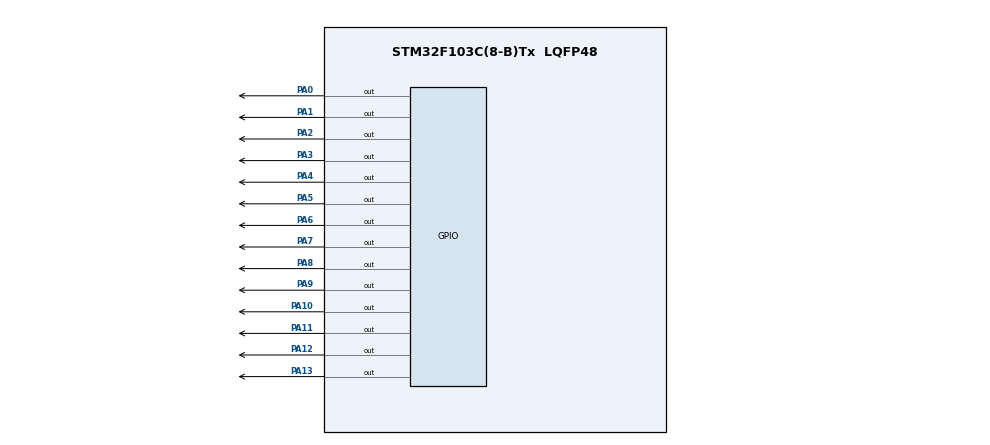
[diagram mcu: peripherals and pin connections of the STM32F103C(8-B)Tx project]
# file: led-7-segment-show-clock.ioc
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Mcu.Family=STM32F1
Mcu.Name=STM32F103C(8-B)Tx
Mcu.Package=LQFP48
NVIC.PriorityGroup=NVIC_PRIORITYGROUP_4
PA0-WKUP.Signal=GPIO_Output
PA1.Signal=GPIO_Output
PA10.Signal=GPIO_Output
PA11.Signal=GPIO_Output
PA12.Signal=GPIO_Output
PA13.Signal=GPIO_Output
PA2.Signal=GPIO_Output
PA3.Signal=GPIO_Output
PA4.Signal=GPIO_Output
PA5.Signal=GPIO_Output
PA6.Signal=GPIO_Output
PA7.Signal=GPIO_Output
PA8.Signal=GPIO_Output
PA9.Signal=GPIO_Output
ProjectManager.HeapSize=0x200
ProjectManager.StackSize=0x400
ProjectManager.TargetToolchain=STM32CubeIDE
RCC.APB1Freq_Value=8000000
RCC.APB2Freq_Value=8000000
board=custom

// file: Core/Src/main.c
/* USER CODE BEGIN Header */
/**
  ******************************************************************************
  * @file           : main.c
  * @brief          : Main program body
  ******************************************************************************
  * @attention
  *
  * Copyright (c) 2024 STMicroelectronics.
  * All rights reserved.
  *
  * This software is licensed under terms that can be found in the LICENSE file
  * in the root directory of this software component.
  * If no LICENSE file comes with this software, it is provided AS-IS.
  *
  ******************************************************************************
  */
/* USER CODE END Header */
#include "main.h"

/* USER CODE BEGIN Includes */
#include "led7seg.h"
#include "delay.h"
/* USER CODE END Includes */

/* USER CODE BEGIN PV */
int second = 0;
int minute = 0;
int hour = 0;
/* USER CODE END PV */

void SystemClock_Config(void);
static void MX_GPIO_Init(void);

int main(void)
{

  /* MCU Configuration--------------------------------------------------------*/

  /* Reset of all peripherals, Initializes the Flash interface and the Systick. */
  HAL_Init();

  /* Configure the system clock */
  SystemClock_Config();

  /* Initialize all configured peripherals */
  MX_GPIO_Init();

  /* Infinite loop */
  while (1)
  {

    /* USER CODE BEGIN 3 */
    while (second <= 59)
    {
      int x = 0;
      while (x < 33)
      {
        int h1 = (int) hour / 10;
        int h2 = hour % 10;
        int m1 = (int) minute / 10;
        int m2 = minute % 10;
        int s1 = (int) second / 10;
        int s2 = second % 10;
        Led7Seg_Display_Clock(h1, h2, m1, m2, s1, s2);
        x++;
      }
      SysTick_Delay(10);
      second++;
    }

    second = 0;
    minute++;

    if (minute == 60)
    {
      minute = 0;
      hour++;
    }

    if (hour == 24)
    {
      hour = 0;
    }
  }
  /* USER CODE END 3 */
}

void SystemClock_Config(void)
{
  RCC_OscInitTypeDef RCC_OscInitStruct = {0};
  RCC_ClkInitTypeDef RCC_ClkInitStruct = {0};

  /** Initializes the RCC Oscillators according to the specified parameters
  * in the RCC_OscInitTypeDef structure.
  */
  RCC_OscInitStruct.OscillatorType = RCC_OSCILLATORTYPE_HSI;
  RCC_OscInitStruct.HSIState = RCC_HSI_ON;
  RCC_OscInitStruct.HSICalibrationValue = RCC_HSICALIBRATION_DEFAULT;
  RCC_OscInitStruct.PLL.PLLState = RCC_PLL_NONE;
  if (HAL_RCC_OscConfig(&RCC_OscInitStruct) != HAL_OK)
  {
    Error_Handler();
  }

  /** Initializes the CPU, AHB and APB buses clocks
  */
  RCC_ClkInitStruct.ClockType = RCC_CLOCKTYPE_HCLK|RCC_CLOCKTYPE_SYSCLK
                              |RCC_CLOCKTYPE_PCLK1|RCC_CLOCKTYPE_PCLK2;
  RCC_ClkInitStruct.SYSCLKSource = RCC_SYSCLKSOURCE_HSI;
  RCC_ClkInitStruct.AHBCLKDivider = RCC_SYSCLK_DIV1;
  RCC_ClkInitStruct.APB1CLKDivider = RCC_HCLK_DIV1;
  RCC_ClkInitStruct.APB2CLKDivider = RCC_HCLK_DIV1;

  if (HAL_RCC_ClockConfig(&RCC_ClkInitStruct, FLASH_LATENCY_0) != HAL_OK)
  {
    Error_Handler();
  }
}

static void MX_GPIO_Init(void)
{
  GPIO_InitTypeDef GPIO_InitStruct = {0};

  /* GPIO Ports Clock Enable */
  __HAL_RCC_GPIOA_CLK_ENABLE();

  /*Configure GPIO pin Output Level */
  HAL_GPIO_WritePin(GPIOA, GPIO_PIN_0|GPIO_PIN_1|GPIO_PIN_2|GPIO_PIN_3
                          |GPIO_PIN_4|GPIO_PIN_5|GPIO_PIN_6|GPIO_PIN_7
                          |GPIO_PIN_8|GPIO_PIN_9|GPIO_PIN_10|GPIO_PIN_11
                          |GPIO_PIN_12|GPIO_PIN_13, GPIO_PIN_RESET);

  /*Configure GPIO pins : PA0 PA1 PA2 PA3
                           PA4 PA5 PA6 PA7
                           PA8 PA9 PA10 PA11
                           PA12 PA13 */
  GPIO_InitStruct.Pin = GPIO_PIN_0|GPIO_PIN_1|GPIO_PIN_2|GPIO_PIN_3
                          |GPIO_PIN_4|GPIO_PIN_5|GPIO_PIN_6|GPIO_PIN_7
                          |GPIO_PIN_8|GPIO_PIN_9|GPIO_PIN_10|GPIO_PIN_11
                          |GPIO_PIN_12|GPIO_PIN_13;
  GPIO_InitStruct.Mode = GPIO_MODE_OUTPUT_PP;
  GPIO_InitStruct.Pull = GPIO_NOPULL;
  GPIO_InitStruct.Speed = GPIO_SPEED_FREQ_LOW;
  HAL_GPIO_Init(GPIOA, &GPIO_InitStruct);

}

void Error_Handler(void)
{
  __disable_irq();
  while (1)
  {
  }
}
